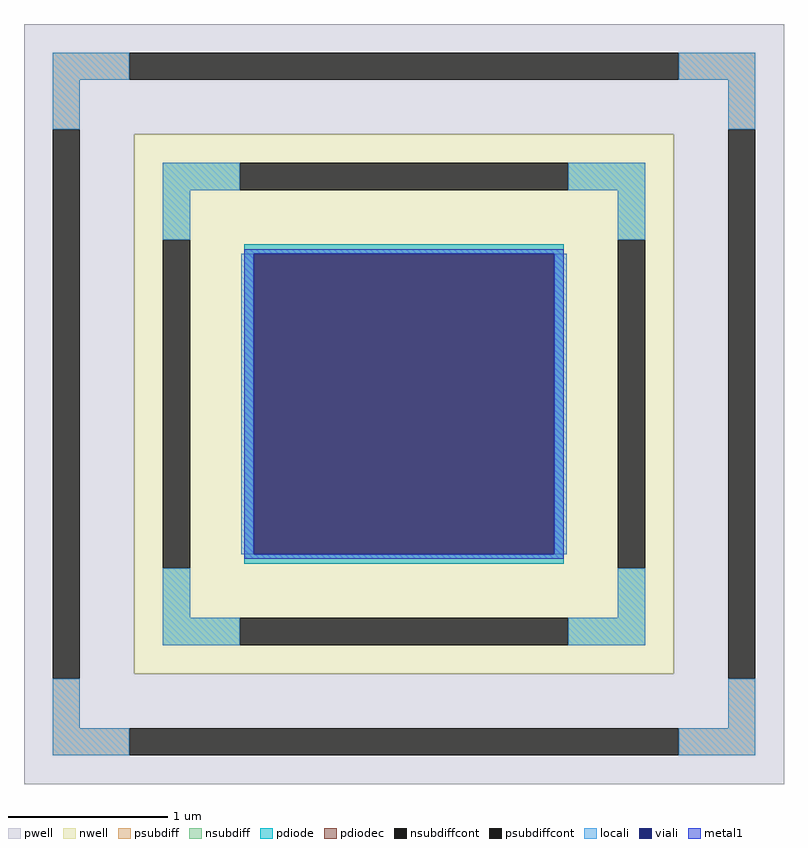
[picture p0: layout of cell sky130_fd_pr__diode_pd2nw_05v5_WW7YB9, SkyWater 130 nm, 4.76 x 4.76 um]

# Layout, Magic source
magic
tech sky130A
<< nwell >>
rect -169 -169 169 169
<< pwell >>
rect -238 169 238 238
rect -238 -169 -169 169
rect 169 -169 238 169
rect -238 -238 238 -169
<< psubdiff >>
rect -220 203 -172 220
rect 172 203 220 220
rect -220 172 -203 203
rect 203 172 220 203
rect -220 -203 -203 -172
rect 203 -203 220 -172
rect -220 -220 -172 -203
rect 172 -220 220 -203
<< nsubdiff >>
rect -151 134 -103 151
rect 103 134 151 151
rect -151 103 -134 134
rect 134 103 151 134
rect -151 -134 -134 -103
rect 134 -134 151 -103
rect -151 -151 -103 -134
rect 103 -151 151 -134
<< psubdiffcont >>
rect -172 203 172 220
rect -220 -172 -203 172
rect 203 -172 220 172
rect -172 -220 172 -203
<< nsubdiffcont >>
rect -103 134 103 151
rect -151 -103 -134 103
rect 134 -103 151 103
rect -103 -151 103 -134
<< pdiode >>
rect -100 94 100 100
rect -100 -94 -94 94
rect 94 -94 100 94
rect -100 -100 100 -94
<< pdiodec >>
rect -94 -94 94 94
<< locali >>
rect -220 203 -172 220
rect 172 203 220 220
rect -220 172 -203 203
rect 203 172 220 203
rect -151 134 -103 151
rect 103 134 151 151
rect -151 103 -134 134
rect 134 103 151 134
rect -102 -94 -94 94
rect 94 -94 102 94
rect -151 -134 -134 -103
rect 134 -134 151 -103
rect -151 -151 -103 -134
rect 103 -151 151 -134
rect -220 -203 -203 -172
rect 203 -203 220 -172
rect -220 -220 -172 -203
rect 172 -220 220 -203
<< viali >>
rect -94 -94 94 94
<< metal1 >>
rect -100 94 100 97
rect -100 -94 -94 94
rect 94 -94 100 94
rect -100 -97 100 -94
<< properties >>
string FIXED_BBOX -142 -142 142 142
string gencell sky130_fd_pr__diode_pd2nw_05v5
string library sky130
string parameters w 2 l 2 area 4.0 peri 8.0 nx 1 ny 1 dummy 0 lmin 0.45 wmin 0.45 elc 1 erc 1 etc 1 ebc 1 glc 1 grc 1 gtc 1 gbc 1 doverlap 0 compatible {sky130_fd_pr__diode_pd2nw_05v5 sky130_fd_pr__diode_pd2nw_05v5_lvt  sky130_fd_pr__diode_pd2nw_05v5_hvt sky130_fd_pr__diode_pd2nw_11v0} full_metal 1 vias 1 viagb 0 viagt 0 viagl 0 viagr 0
<< end >>
